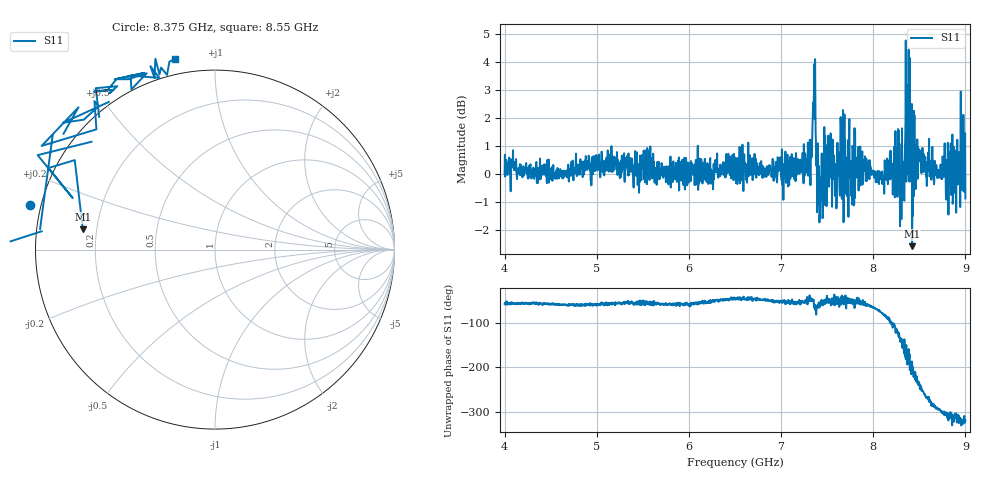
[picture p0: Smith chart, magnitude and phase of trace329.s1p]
! Created with skrf 1.8.0 (http://scikit-rf.org).
# Hz S RI R 50.0
!freq ReS11 ImS11
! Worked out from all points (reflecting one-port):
!   1601 points, 4 GHz to 9 GHz, reference 50 ohm
!   lowest |S11| = -2.6 dB at 8.422 GHz (marker M1), VSWR 6.83, Z = 7.36 + j3.7 ohm
!   phase of S11 starts at -58 deg and turns -260 deg over the sweep
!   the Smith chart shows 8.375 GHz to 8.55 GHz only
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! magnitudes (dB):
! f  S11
! 4 GHz  0.0
! 4.625 GHz  -0.1
! 5.25 GHz  -0.1
! 5.875 GHz  0.1
! 6.5 GHz  0.4
! 7.125 GHz  0.4
! 7.297 GHz  0.2
! 7.319 GHz  -0.4
! 7.353 GHz  2.5
! 7.375 GHz  1.5
! 7.4 GHz  1.1
! 7.428 GHz  -0.1
! 7.525 GHz  1.0
! 7.616 GHz  0.2
! 7.669 GHz  1.1
! 7.703 GHz  0.6
! 7.75 GHz  -0.1
! 8.097 GHz  0.1
! 8.262 GHz  -0.8
! 8.312 GHz  1.6
! 8.375 GHz  0.5
! 8.412 GHz  0.9
! 8.422 GHz  -2.6
! 8.447 GHz  2.1
! 8.466 GHz  0.2
! 8.803 GHz  -0.5
! 8.972 GHz  0.2
! 9 GHz  -0.9
